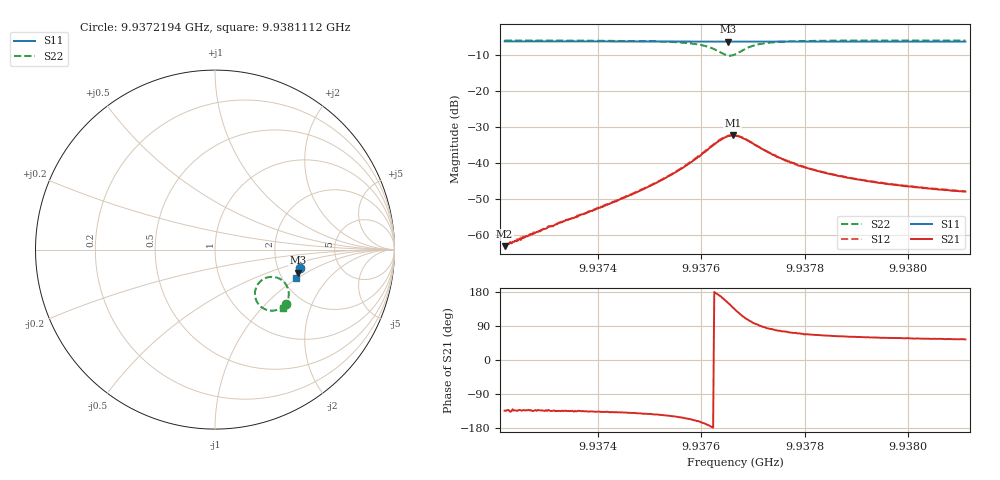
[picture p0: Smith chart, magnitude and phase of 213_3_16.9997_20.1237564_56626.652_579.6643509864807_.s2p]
#  HZ  S  RI  R  50.00
! Rohde & Schwarz Vector Network Analyzer
! Rohde-Schwarz,ZNB20-2Port,1311601062101988,3.16
! Created: UTC 3/20/2024, 11:01:39 PM
! freq[Hz]  re:S11  im:S11  re:S21  im:S21  re:S12  im:S12  re:S22  im:S22
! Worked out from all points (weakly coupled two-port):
!   401 points, 9.9372194 GHz to 9.9381112 GHz, reference 50 ohm
!   highest |S21| = -32.38 dB at 9.9376608 GHz (marker M1); lowest = -63.1 dB at 9.9372194 GHz (marker M2)
!   lowest |S11| = -6.4 dB at 9.9376519 GHz (marker M3), VSWR 2.84, Z = 126 - j42 ohm
!   |S11| at or under -10 dB: nowhere
!   |S22| runs from -10.3 to -6.1 dB; largest |S21 - S12| = 0.001
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9.93721936e9  0.4732 -0.1014  -0.000486 -0.000508  -0.00054 -0.000525  0.3936 -0.3051
9.93723719e9  0.4728 -0.1026  -0.000574 -0.000601  -0.000558 -0.000567  0.3922 -0.3064
9.93727287e9  0.4719 -0.1051  -0.000719 -0.000731  -0.000715 -0.000763  0.3892 -0.3094
9.93730631e9  0.4713 -0.1072  -0.000905 -0.000964  -0.000928 -0.000938  0.3858 -0.3124
9.93736874e9  0.4702 -0.1114  -0.00138 -0.00137  -0.00142 -0.00135  0.3789 -0.3182
9.93743563e9  0.4686 -0.1161  -0.00216 -0.00199  -0.00229 -0.002  0.3683 -0.3257
9.93751813e9  0.4667 -0.1215  -0.00452 -0.00324  -0.00464 -0.00319  0.3441 -0.3364
9.93756718e9  0.4653 -0.1251  -0.0079 -0.00401  -0.00813 -0.00395  0.3136 -0.3404
9.93760732e9  0.4637 -0.1277  -0.0139 -0.00294  -0.0145 -0.0028  0.2643 -0.3244
9.93763184e9  0.4623 -0.1287  -0.0194 0.00227  -0.0198 0.00274  0.227 -0.2754
9.93765191e9  0.4615 -0.1289  -0.0205 0.0116  -0.0204 0.0124  0.2337 -0.2012
9.93766083e9  0.4614 -0.1291  -0.0181 0.0159  -0.018 0.0166  0.2587 -0.1716
9.93766529e9  0.4617 -0.129  -0.0164 0.0174  -0.0162 0.0183  0.275 -0.1615
9.93767643e9  0.462 -0.1294  -0.0113 0.02  -0.0108 0.0203  0.3181 -0.1518
9.93768981e9  0.4622 -0.1302  -0.00591 0.0195  -0.00524 0.02  0.3602 -0.1625
9.93771657e9  0.4624 -0.1323  0.000237 0.0157  0.000663 0.0159  0.4004 -0.203
9.93775893e9  0.4619 -0.1354  0.00282 0.0109  0.00314 0.0107  0.4113 -0.2479
9.93779015e9  0.4613 -0.1378  0.00309 0.00858  0.00338 0.00861  0.4092 -0.2668
9.93781467e9  0.4607 -0.1395  0.00319 0.00746  0.00335 0.00744  0.4063 -0.277
9.93787933e9  0.4591 -0.1439  0.00298 0.00556  0.00312 0.0056  0.3992 -0.2945
9.93796406e9  0.4571 -0.1495  0.0027 0.00432  0.00279 0.00432  0.3909 -0.3082
9.93811122e9  0.453 -0.159  0.00234 0.00326  0.00241 0.00324  0.3792 -0.3227
